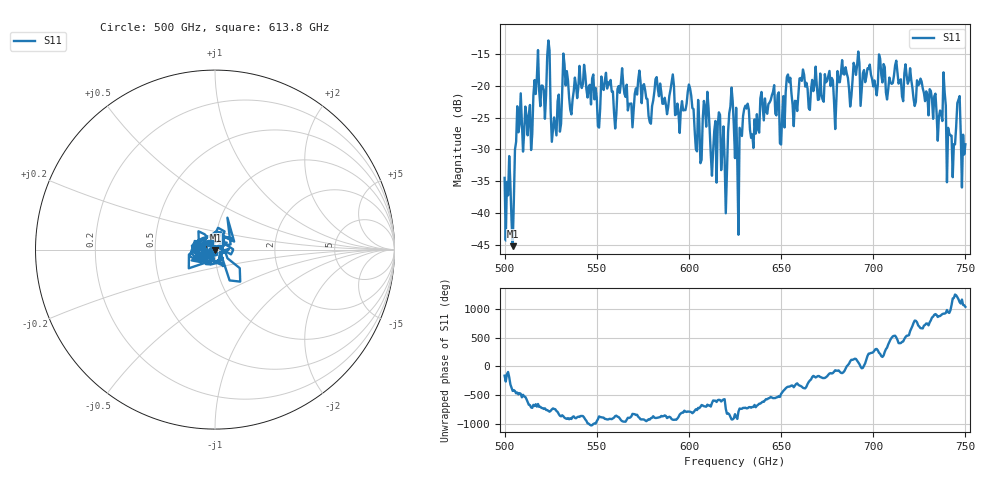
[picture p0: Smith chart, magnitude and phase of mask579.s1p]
!Created with skrf (http://scikit-rf.org).
# GHz S MA R 50.0
!freq magS11 angS11
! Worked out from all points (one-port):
!   401 points, 500 GHz to 750 GHz, reference 50 ohm
!   lowest |S11| = -45.2 dB at 504.4 GHz (marker M1), VSWR 1.01, Z = 50.2 - j0.5 ohm
!   |S11| at or under -10 dB: start of sweep to end of sweep
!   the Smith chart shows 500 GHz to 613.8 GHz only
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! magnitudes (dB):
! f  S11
! 500 GHz  -34.5
! 504.4 GHz  -45.2
! 507.5 GHz  -27.3
! 513.8 GHz  -23.0
! 516.9 GHz  -21.3
! 523.8 GHz  -12.9
! 526.9 GHz  -25.0
! 531.2 GHz  -20.9
! 562.5 GHz  -21.1
! 579.4 GHz  -26.0
! 590.6 GHz  -19.4
! 593.8 GHz  -22.8
! 600.6 GHz  -20.4
! 605.6 GHz  -25.8
! 609.4 GHz  -26.4
! 618.8 GHz  -26.4
! 622.5 GHz  -23.3
! 625 GHz  -31.4
! 627.5 GHz  -26.6
! 631.2 GHz  -23.6
! 635 GHz  -29.8
! 656.2 GHz  -23.0
! 687.5 GHz  -23.3
! 690.6 GHz  -18.3
! 718.8 GHz  -19.7
! 743.1 GHz  -34.3
! 746.2 GHz  -22.2
! 750 GHz  -29.2
